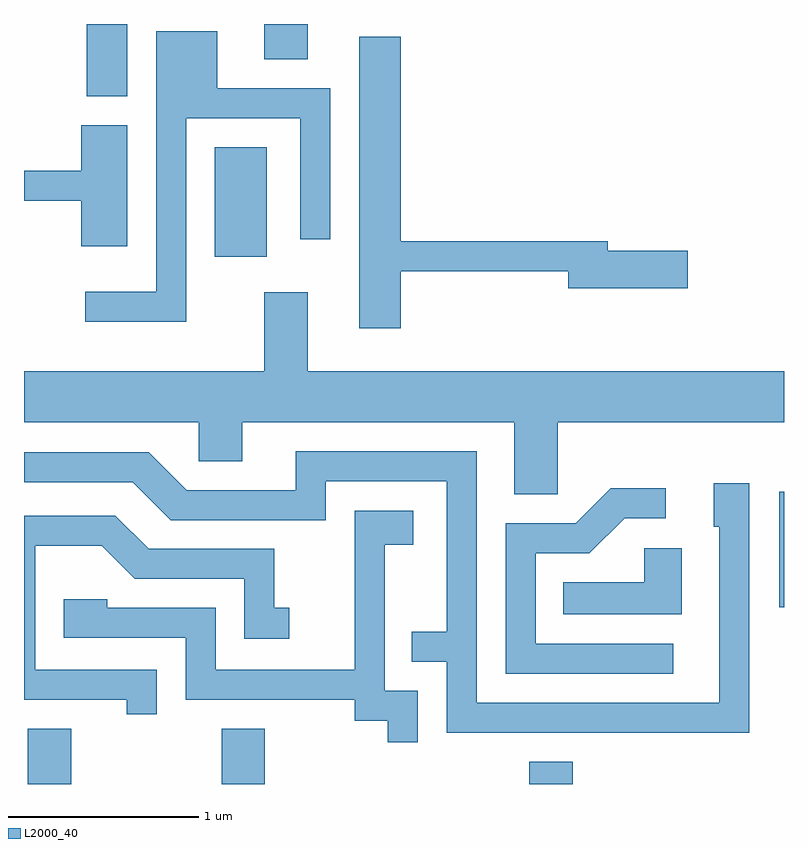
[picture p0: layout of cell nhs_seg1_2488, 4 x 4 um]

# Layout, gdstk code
import gdstk
lib = gdstk.Library(unit=1e-6, precision=1e-09)
def R(c, l, rs):  # rectangles x0, y0, x1, y1
    for r in rs: c.add(gdstk.rectangle(r[:2], r[2:], *l))
def P(c, l, *ps):  # polygons
    for p in ps: c.add(gdstk.Polygon(p, *l))
L2000_40 = (2000, 40)

nhs_seg1_2488 = lib.new_cell('nhs_seg1_2488')
R(nhs_seg1_2488, L2000_40, [(261.631,857.712,261.859,858.004), (262.651,857.712,262.879,858.004), (264.271,857.712,264.499,857.829), (265.586,858.643,265.611,859.249), (262.616,860.486,262.889,861.064), (261.941,861.331,262.154,861.712), (262.876,861.526,263.104,861.712)])
P(nhs_seg1_2488, L2000_40, [(262.464,861.216),(263.066,861.216),(263.066,860.578),(263.224,860.578),(263.224,861.374),(262.629,861.374),(262.629,861.674),(262.306,861.674),(262.306,860.304),(261.933,860.304),(261.933,860.146),(262.464,860.146)],
  [(263.594,860.411),(264.476,860.411),(264.476,860.321),(265.104,860.321),(265.104,860.519),(264.684,860.519),(264.684,860.569),(263.594,860.569),(263.594,861.644),(263.376,861.644),(263.376,860.111),(263.594,860.111)],
  [(262.154,861.179),(261.911,861.179),(261.911,860.939),(261.611,860.939),(261.611,860.781),(261.911,860.781),(261.911,860.541),(262.154,860.541)],
  [(264.419,859.616),(265.611,859.616),(265.611,859.884),(263.104,859.884),(263.104,860.299),(262.876,860.299),(262.876,859.884),(261.611,859.884),(261.611,859.616),(262.531,859.616),(262.531,859.411),(262.759,859.411),(262.759,859.616),(264.191,859.616),(264.191,859.236),(264.419,859.236)],
  [(265.429,859.294),(265.241,859.294),(265.241,859.066),(265.271,859.066),(265.271,858.139),(263.994,858.139),(263.994,859.464),(263.041,859.464),(263.041,859.259),(262.467,859.259),(262.267,859.459),(261.611,859.459),(261.611,859.301),(262.184,859.301),(262.384,859.101),(263.199,859.101),(263.199,859.306),(263.836,859.306),(263.836,858.514),(263.653,858.514),(263.653,858.356),(263.836,858.356),(263.836,857.981),(265.429,857.981)],
  [(265.028,858.449),(264.304,858.449),(264.304,858.926),(264.587,858.926),(264.772,859.111),(264.988,859.111),(264.988,859.269),(264.699,859.269),(264.514,859.084),(264.146,859.084),(264.146,858.291),(265.028,858.291)],
  [(263.684,858.204),(263.509,858.204),(263.509,858.971),(263.659,858.971),(263.659,859.149),(263.351,859.149),(263.351,858.314),(262.619,858.314),(262.619,858.639),(262.049,858.639),(262.049,858.684),(261.821,858.684),(261.821,858.481),(262.461,858.481),(262.461,858.156),(263.351,858.156),(263.351,858.046),(263.526,858.046),(263.526,857.933),(263.684,857.933)],
  [(262.309,858.314),(261.669,858.314),(261.669,858.966),(262.019,858.966),(262.194,858.791),(262.771,858.791),(262.771,858.476),(263.008,858.476),(263.008,858.639),(262.929,858.639),(262.929,858.949),(262.267,858.949),(262.092,859.124),(261.611,859.124),(261.611,858.156),(262.151,858.156),(262.151,858.078),(262.309,858.078)],
  [(265.074,858.954),(264.876,858.954),(264.876,858.774),(264.448,858.774),(264.448,858.606),(265.074,858.606)])

lib.write_gds('nhs_seg1_2488.gds')
